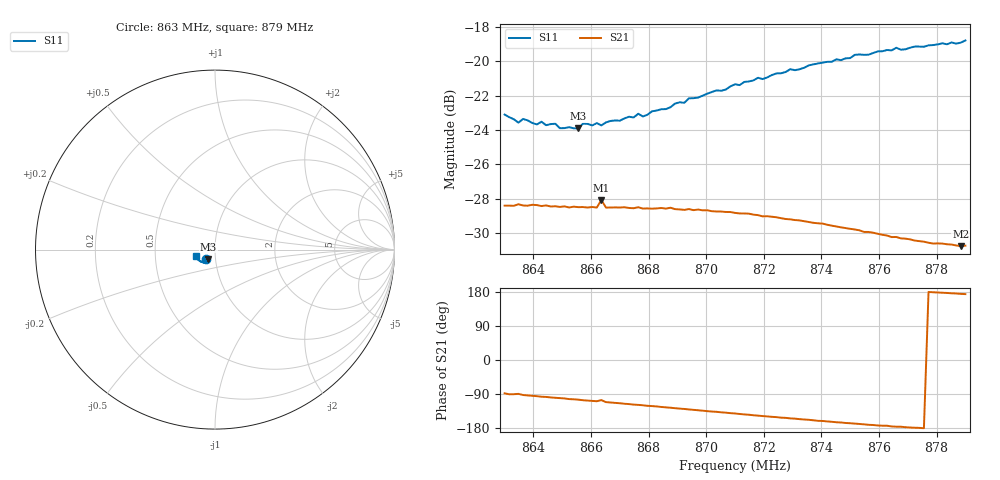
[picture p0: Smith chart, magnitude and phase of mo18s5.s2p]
# HZ S RI R 50
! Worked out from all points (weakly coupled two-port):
!   101 points, 863 MHz to 879 MHz, reference 50 ohm
!   highest |S21| = -28.07 dB at 866.36 MHz (marker M1); lowest = -30.8 dB at 878.84 MHz (marker M2)
!   lowest |S11| = -23.9 dB at 865.56 MHz (marker M3), VSWR 1.14, Z = 46.2 - j4.82 ohm
!   |S11| at or under -10 dB: start of sweep to end of sweep
!   S12 and S22 are empty: the file has one direction only
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8.63e8  -0.0481 -0.0508  0.0013 -0.038  0 0  0 0
8.6348e8  -0.0414 -0.0517  0.000435 -0.0384  0 0  0 0
8.6364e8  -0.0442 -0.0516  -0.00159 -0.038  0 0  0 0
8.6412e8  -0.0412 -0.0509  -0.00361 -0.038  0 0  0 0
8.6428e8  -0.0408 -0.0527  -0.00458 -0.0376  0 0  0 0
8.6444e8  -0.0402 -0.0512  -0.00494 -0.0377  0 0  0 0
8.6476e8  -0.0404 -0.0519  -0.00641 -0.0373  0 0  0 0
8.6492e8  -0.0398 -0.0499  -0.00692 -0.037  0 0  0 0
8.6556e8  -0.0369 -0.052  -0.00952 -0.0364  0 0  0 0
8.6572e8  -0.0362 -0.0549  -0.0105 -0.0362  0 0  0 0
8.662e8  -0.0369 -0.0548  -0.0121 -0.0355  0 0  0 0
8.6636e8  -0.0309 -0.0572  -0.0108 -0.038  0 0  0 0
8.6652e8  -0.0357 -0.0559  -0.0136 -0.035  0 0  0 0
8.6748e8  -0.0348 -0.0591  -0.0174 -0.0331  0 0  0 0
8.6764e8  -0.037 -0.0598  -0.0179 -0.0331  0 0  0 0
8.678e8  -0.035 -0.0595  -0.0183 -0.0325  0 0  0 0
8.6844e8  -0.0367 -0.0625  -0.0209 -0.031  0 0  0 0
8.71e8  -0.048 -0.0709  -0.0282 -0.0227  0 0  0 0
8.7372e8  -0.0663 -0.072  -0.0317 -0.0121  0 0  0 0
8.7644e8  -0.0898 -0.059  -0.0307 -0.00252  0 0  0 0
8.7884e8  -0.106 -0.0397  -0.0288 0.00279  0 0  0 0
8.79e8  -0.1083 -0.0382  -0.0289 0.00311  0 0  0 0
